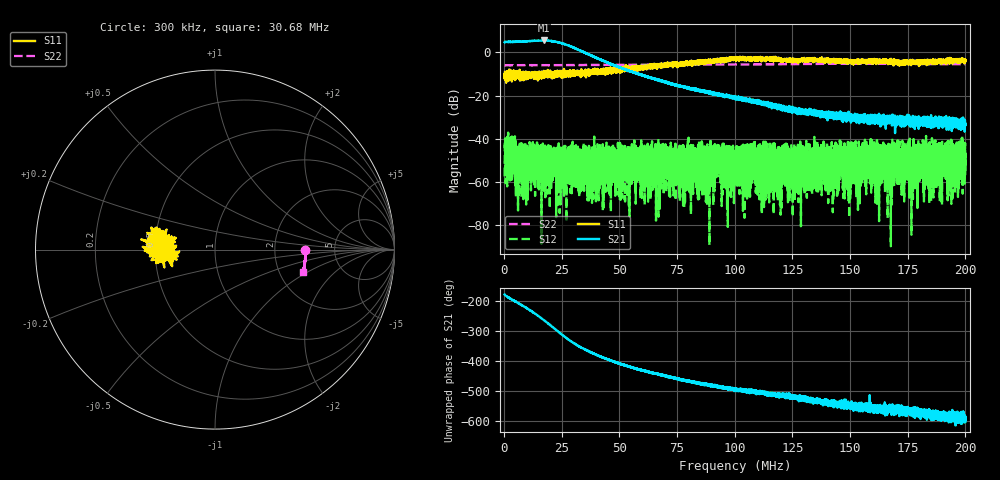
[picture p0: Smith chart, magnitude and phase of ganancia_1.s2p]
# Hz S DB R 50
! CMT, M5065, 19127446, 24.2.4/2
! Date: 10/29/2024 11:44:51 AM
! Data: Format (Calibration Info)
! Freq	S11:dB/Ang(F2)	S21:dB/Ang(F2)	S12:dB/Ang(F2)	S22:dB/Ang(F2)
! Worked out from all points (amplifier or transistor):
!   9000 points, 300 kHz to 200 MHz, reference 50 ohm
!   highest |S21| = 5.5 dB at 17.32 MHz (marker M1)
!   |S21| within 3 dB of that: start of sweep to 29.45 MHz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
!   unconditionally stable (mu >= 1): start of sweep to end of sweep
!   at 33.59 MHz: K = 275.18, MAG = 2.5 dB, |S12| = -59.2 dB
!   at 100.2 MHz: K = 310.26, MAG = -16.2 dB, |S12| = -44.5 dB
!   at 200 MHz: K = 2650.98, MAG = -29.9 dB, |S12| = -48.3 dB
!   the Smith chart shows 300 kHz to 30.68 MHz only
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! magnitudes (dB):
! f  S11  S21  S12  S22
! 300 kHz  -11.2  4.8  -57.5  -6.0
! 1.432 MHz  -9.6  4.8  -62.1  -6.0
! 5.848 MHz  -10.1  4.9  -44.9  -5.9
! 17.32 MHz  -10.3  5.5  -52.8  -6.0
! 33.59 MHz  -8.9  0.6  -59.2  -5.9
! 66.87 MHz  -5.6  -12.8  -48.4  -5.7
! 85.98 MHz  -3.8  -17.7  -66.7  -5.6
! 88.51 MHz  -4.3  -18.8  -57.8  -5.6
! 92.35 MHz  -4.3  -19.3  -50.2  -5.7
! 100.2 MHz  -2.6  -21.0  -44.5  -5.6
! 107.8 MHz  -2.9  -22.5  -54.5  -5.6
! 115 MHz  -2.6  -24.6  -53.1  -5.6
! 122 MHz  -3.7  -25.9  -49.2  -5.5
! 124.4 MHz  -3.5  -26.9  -59.8  -5.5
! 128.9 MHz  -3.7  -27.3  -46.1  -5.4
! 133.4 MHz  -2.9  -27.3  -64.4  -5.4
! 151.4 MHz  -4.6  -30.2  -51.9  -5.3
! 153.5 MHz  -4.1  -30.1  -47.7  -5.3
! 155.7 MHz  -4.1  -30.8  -46.7  -5.3
! 166.7 MHz  -4.3  -31.0  -51.5  -5.3
! 176.3 MHz  -5.1  -32.2  -50.2  -5.4
! 200 MHz  -3.9  -33.6  -48.3  -5.5
